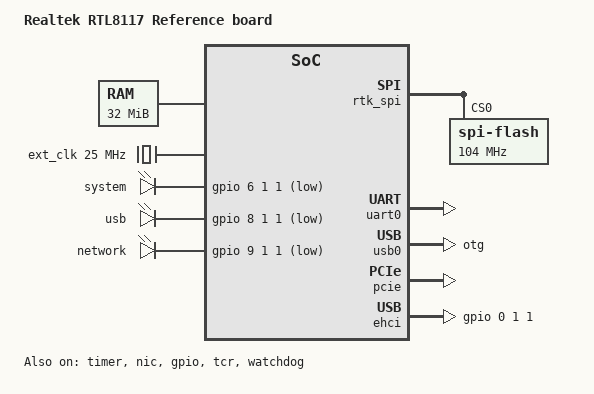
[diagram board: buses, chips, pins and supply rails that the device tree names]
/dts-v1/;

#include <dt-bindings/gpio/gpio.h>

/ {
	compatible = "realtek,rtl8117";
        model = "Realtek RTL8117 Reference board";

	#address-cells = <1>;
	#size-cells = <1>;

	aliases {
		serial0 = &uart0;
		spi0 = &rtk_spi;
		usb0 = &usb0;
	};

	cpus {
		#address-cells = <1>;
		#size-cells = <0>;

		mips-hpt-frequency = <250000000>;

		cpu@0 {
			compatible = "realtek,taroko";
			device_type = "cpu";
			clocks  = <&ext_clk>;
			reg = <0>;
			clock-frequency = <250000000>;
		};
	};

        memory@0x08000000 {
                device_type = "memory";
                reg = <0x08000000 0x02000000>;
        };

	chosen {
		bootargs = "console=ttyS0,57600 init=/init";
		stdout-path = &uart0;
	};

	clocks {
		ext_clk: ext_clk {
			compatible = "fixed-clock";
			#clock-cells = <0>;
			clock-frequency = <25000000>;
		};
	};

	cpuintc: interrupt-controller@0 {
		#address-cells = <0>;
		#interrupt-cells = <1>;
		interrupt-controller;
		compatible = "mti,cpu-interrupt-controller";
        };

	tarokovec: interrupt-controller@1 {
		#address-cells = <0>;
		#interrupt-cells = <1>;
		interrupt-controller;
		compatible = "realtek,taroko-vector";
        };

	rtk_spi: rtk_spi@1c000000 {
		#address-cells = <1>;
		#size-cells = <1>;
		compatible = "realtek,rtk-spi";
		reg = <0x1c000000 0x100>;
		excha-addr = <0xA2010000>;
		status = "okay";
		spi-flash@0 {
			#address-cells = <1>;
			#size-cells = <1>;
			compatible = "spi-flash";
			memory-map = <0x82000000 0x01000000>;
			spi-dummy-cycles = <2>;
			spi-max-frequency = <104000000>;
			reg = <0x0 0x0>;
		};
	};

	timer: timer@1a800000 {
		compatible = "snps,dw-apb-timer";
		interrupt-parent = <&tarokovec>;
		interrupts = <9>;
		reg = <0x1a800000 0x100>;
		clock-frequency = <25000000>;
		clocks = <&ext_clk>;
		clock-names = "timer", "pclk";
		status = "okay";
	};


	uart0: serial0@1a000000 {
		compatible = "snps,dw-apb-uart";
		interrupt-parent = <&cpuintc>;
		interrupts = <7>;
		reg = <0x1a000000 0x100>;
		clock-frequency = <125000000>;
		reg-shift = <2>;
		reg-io-width = <4>;
		status = "okay";
	};

	usb0: usb@1b400000 {
		compatible = "realtek,rtl8117-usb";
		reg = <0x1b400000 0x3ffff>;

		interrupt-parent = <&tarokovec>;
		interrupts = <12>;

		dr_mode = "otg";
		g-np-tx-fifo-size = <32>;
		g-rx-fifo-size = <256>;
		g-tx-fifo-size = <256 128 128 64 64 64 32>;
		status = "okay";
	};

	pcie: pcie@1afa0000 {
		compatible = "realtek,rtl8117-pcie";
		reg = <0x1afa0000 0xfff 0x1af70000 0xfff 0x1af10000 0xfff>;
		bus-range = <0x0 0x0>;

		ranges = <0x02000000 0x00000000 0xC0000000  0xC0000000 0x00000000 0x01000000
			  0x01000000 0x00000000 0x00030000  0x00030000 0x00000000 0x00010000>;

		interrupt-names = "rtk-pcie1-intr";
		#address-cells = <3>;
		#size-cells = <2>;
		#interrupt-cells = <1>;
		interrupt-map-mask = <0 0 0 0>;
		interrupt-map = <0 0 0 0 &tarokovec 11>;
	};
	dfs {
		compatible = "realtek,rtl8117-dfs";
		reg = <0x1B000000 0x100>, //cpu0 register
			<0x1AF00000 0x100>, //cpu1 register
			<0x1AF70000 0x800>, //OOB MAC register
			<0x1A000000 0x100>, //UART register
			<0x1A800000 0x100>, //TIMER register
			<0x1C000000 0x100>;	//SPI FLASH register
		frequency-table = <
			400000
			250000
			125000
			62500
			31250
		>;
	};

	nic: nic@1af70000 {
		compatible = "realtek,r8117";
		interrupt-parent = <&cpuintc>;
		interrupts = <6>;
		reg = <0x1af70000 0x1000>;
		status = "okay";
	};

	gpio: gpio@0 {
		compatible = "realtek,rtl8117-gpio";
		reg = <0x1AF70000 0x800>; //OOBMAC register
		gpio-controller;
		#gpio-cells = <4>;
		Realtek,gpio_base = <0>;
		Realtek,gpio_numbers = <25>;
		status = "okay";
	};

	tcr: tcr@1af50000 {
		compatible = "realtek,rtl8117-tcr";
		reg = <0x1AF50000 0x100>; //TCR register
		interrupts = <10>;
		interrupt-parent = <&tarokovec>;
		status = "okay";
	};

	watchdog: watchdog@0 {
		compatible = "snps,dw-wdt";
		reg = <0x1B500000 0x100>;
		interrupts = <4>;
		clocks = <&ext_clk>;
		status = "okay";
	};

	ehci: ehci@12003000 {
		compatible = "realtek,rtl8117-ehci";
		reg = <0x12003000 0x1000>;

		gpios = <&gpio 0 1 1 GPIO_ACTIVE_LOW>;

		interrupt-parent = <&tarokovec>;
		interrupts = <8>;

		status = "okay";
	};

	leds {
		compatible = "gpio-leds";

		led0: system {
			label = "system";
			gpios = <&gpio 6 1 1 GPIO_ACTIVE_LOW>;
			default-state = "on";
			linux,default-trigger = "heartbeat";
		};

		led1: usb {
			label = "usb";
			gpios = <&gpio 8 1 1 GPIO_ACTIVE_LOW>;
			default-state = "off";
		};

		led2: network {
			label = "network";
			gpios = <&gpio 9 1 1 GPIO_ACTIVE_LOW>;
			default-state = "off";
		};
     };
};
